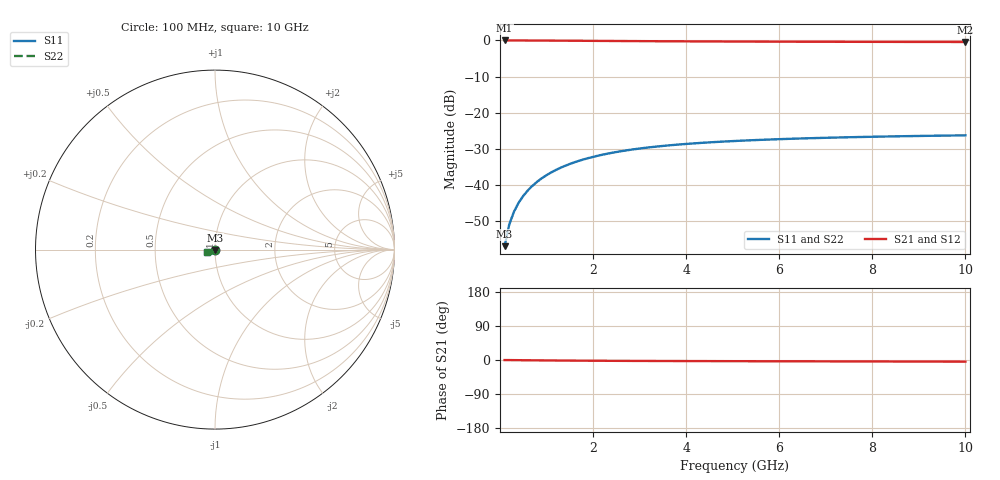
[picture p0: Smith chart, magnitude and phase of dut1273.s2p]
! Touchstone file exported from HFSS 2024.1.0
!  File:  C:/UserFiles/LocalFiles/RDL_TSV_Batchsim/temp_TSV1_1273_1780254619.aedt
!  Generated:  03:14:33 AM Jun  1, 2026
!  Design:  TSV1
!  Project:  temp_TSV1_1273_1780254619
!  Setup:  Setup1
!  Solution:  Sweep
! Variables:
!  dtsv = 14.19um
!  hbump = 3um
!  htsv = 64.35um
!  lrdl = 252.1521522um
!  p = 40
!  p1 = 50.78um
!  t = 500um
!  trdl = 3um
!  wrdl = 24.89489489um
# GHz S MA R 50.000000
! Terminal data exported
! Port[1] = TSV22_T1
! Port[2] = TSV22_T2
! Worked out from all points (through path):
!   100 points, 100 MHz to 10 GHz, reference 50 ohm
!   highest |S21| = 0.00 dB at 100 MHz (marker M1); lowest = -0.4 dB at 10 GHz (marker M2)
!   lowest |S11| = -56.9 dB at 100 MHz (marker M3), VSWR 1.00, Z = 50 - j0.143 ohm
!   |S11| at or under -10 dB: start of sweep to end of sweep
!   |S22| runs from -56.9 to -26.2 dB; largest |S21 - S12| = 5.2e-15
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0.1  0.001434 -88.8  0.9999 -0.1  0.9999 -0.1  0.001434 -88.8
! Gamma 0 0 0 0
! Port Impedance 50 0 50 0
0.2  0.002861 -92.1  0.9997 -0.2  0.9997 -0.2  0.002861 -92.1
0.3  0.004281 -94.3  0.9995 -0.4  0.9995 -0.4  0.004281 -94.3
0.4  0.005692 -96.3  0.9992 -0.5  0.9992 -0.5  0.005692 -96.3
0.5  0.007087 -98.2  0.9988 -0.6  0.9988 -0.6  0.007087 -98.2
0.6  0.008465 -100.0  0.9983 -0.7  0.9983 -0.7  0.008465 -100.0
0.7  0.009822 -101.8  0.9978 -0.8  0.9978 -0.8  0.009822 -101.8
0.8  0.01115 -103.5  0.9972 -0.9  0.9972 -0.9  0.01115 -103.5
0.9  0.01246 -105.2  0.9965 -1.0  0.9965 -1.0  0.01246 -105.2
1.1  0.01498 -108.4  0.995 -1.2  0.995 -1.2  0.01498 -108.4
1.4  0.01851 -113.0  0.9925 -1.5  0.9925 -1.5  0.01851 -113.0
1.6  0.02068 -115.8  0.9907 -1.6  0.9907 -1.6  0.02068 -115.8
1.8  0.0227 -118.5  0.9889 -1.8  0.9889 -1.8  0.0227 -118.5
2.1  0.02547 -122.3  0.9862 -2.0  0.9862 -2.0  0.02547 -122.3
2.5  0.0287 -126.9  0.9827 -2.2  0.9827 -2.2  0.0287 -126.9
2.9  0.03144 -131.0  0.9794 -2.4  0.9794 -2.4  0.03144 -131.0
3.4  0.03431 -135.4  0.9756 -2.6  0.9756 -2.6  0.03431 -135.4
4.2  0.03791 -141.3  0.9704 -2.9  0.9704 -2.9  0.03791 -141.3
5.1  0.04092 -146.7  0.9658 -3.1  0.9658 -3.1  0.04092 -146.7
6.7  0.0446 -153.9  0.9598 -3.5  0.9598 -3.5  0.0446 -153.9
8.4  0.04715 -159.7  0.9555 -4.0  0.9555 -4.0  0.04715 -159.7
10  0.04879 -164.1  0.9526 -4.4  0.9526 -4.4  0.04878 -164.1
